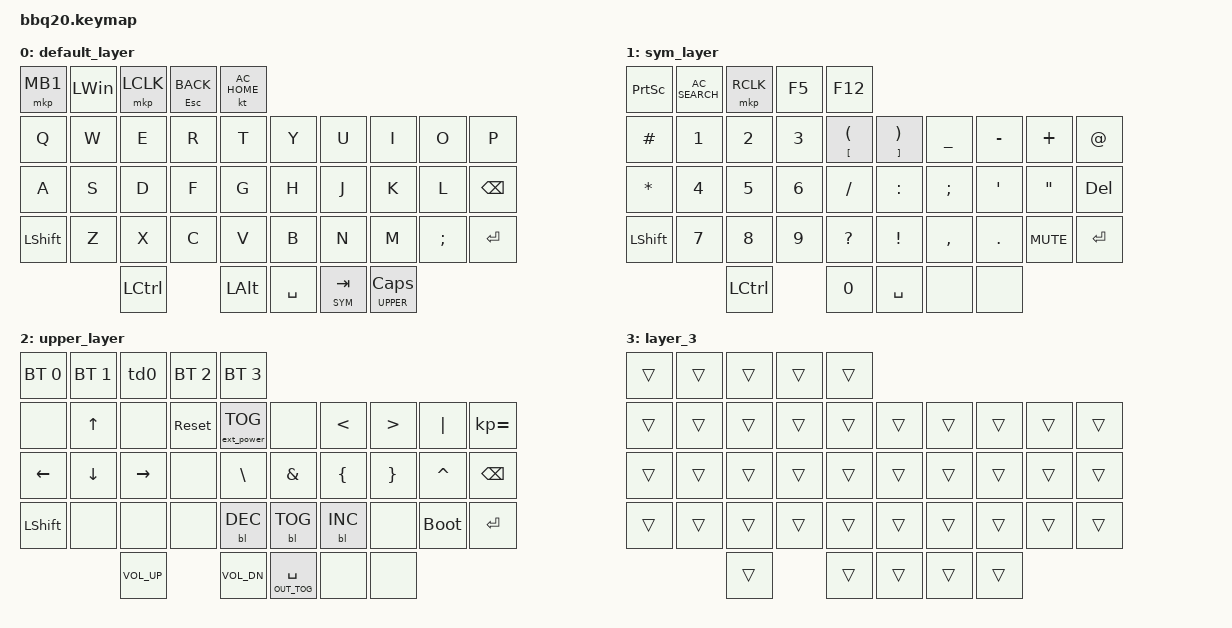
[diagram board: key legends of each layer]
/*
 * Copyright (c) 2023 ZitaoTech
 *
 * SPDX-License-Identifier: MIT
 */

#include <dt-bindings/zmk/mouse.h>
#include <behaviors.dtsi>
#include <dt-bindings/zmk/backlight.h>
#include <dt-bindings/zmk/bt.h>
#include <dt-bindings/zmk/ext_power.h>
#include <dt-bindings/zmk/keys.h>
#include <dt-bindings/zmk/outputs.h>
#include <dt-bindings/zmk/pointing.h>

#define SYM 1
#define UPPER 2

/ {
    behaviors {
        td0: tap_dance_0 {
            compatible = "zmk,behavior-tap-dance";
            #binding-cells = <0>;
            tapping-term-ms = <400>;
            bindings = <&mkp LCLK>, <&bt BT_CLR>;
        };
    };

    behaviors {
        hm: homerow_mods {
            compatible = "zmk,behavior-hold-tap";
            #binding-cells = <2>;
            tapping-term-ms = <500>;
            bindings = <&out &kp>;
        };
    };

    behaviors {
        bhm: balanced_homerow_mods {
            compatible = "zmk,behavior-hold-tap";
            #binding-cells = <2>;
            flavor = "balanced";
            tapping-term-ms = <400>;
            bindings = <&kp>, <&kp>;
        };
    };

    keymap {
        compatible = "zmk,keymap";

        default_layer {
            bindings = <
&mkp MB1   &kp LEFT_WIN  &mkp LCLK  &mt ESC K_BACK  &kt C_AC_HOME
&kp Q      &kp W         &kp E      &kp R           &kp T          &kp Y        &kp U        &kp I               &kp O     &kp P
&kp A      &kp S         &kp D      &kp F           &kp G          &kp H        &kp J        &kp K               &kp L     &kp BSPC
&kp LSHFT  &kp Z         &kp X      &kp C           &kp V          &kp B        &kp N        &kp M               &kp SEMI  &kp ENTER
                         &kp LCTRL                  &kp LALT       &kp SPACE    &lt SYM TAB  &lt UPPER CAPSLOCK
            >;
        };

        sym_layer {
            bindings = <
&kp PSCRN  &kp C_AC_SEARCH  &mkp RCLK  &kp F5  &kp F12
&kp HASH   &kp N1           &kp N2     &kp N3  &mt LBKT LPAR  &mt RBKT RPAR    &kp UNDER  &kp MINUS  &kp PLUS    &kp AT
&kp STAR   &kp N4           &kp N5     &kp N6  &kp SLASH      &kp COLON        &kp SEMI   &kp APOS   &kp DQT     &kp DEL
&kp LSHFT  &kp N7           &kp N8     &kp N9  &kp QMARK      &kp EXCL         &kp COMMA  &kp DOT    &kp C_MUTE  &kp ENTER
                            &kp LCTRL          &kp N0         &kp SPACE        &none      &none
            >;
        };

        upper_layer {
            bindings = <
&bt BT_SEL 0  &bt BT_SEL 1  &td0             &bt BT_SEL 2  &bt BT_SEL 3
&none         &kp UP        &none            &sys_reset    &ext_power EP_TOG  &none                &kp LT      &kp GT    &kp PIPE     &kp KP_EQUAL
&kp LEFT      &kp DOWN      &kp RIGHT        &none         &kp BSLH           &kp AMPS             &kp LBRC    &kp RBRC  &kp CARET    &kp BSPC
&kp LSHFT     &none         &none            &none         &bl BL_DEC         &bl BL_TOG           &bl BL_INC  &none     &bootloader  &kp ENTER
                            &kp K_VOLUME_UP                &kp K_VOL_DN       &hm OUT_TOG SPACE    &none       &none
            >;
        };

        layer_3 {
            bindings = <
&trans  &trans  &trans  &trans  &trans
&trans  &trans  &trans  &trans  &trans  &trans    &trans  &trans  &trans  &trans
&trans  &trans  &trans  &trans  &trans  &trans    &trans  &trans  &trans  &trans
&trans  &trans  &trans  &trans  &trans  &trans    &trans  &trans  &trans  &trans
                &trans          &trans  &trans    &trans  &trans
            >;
        };
    };
};
